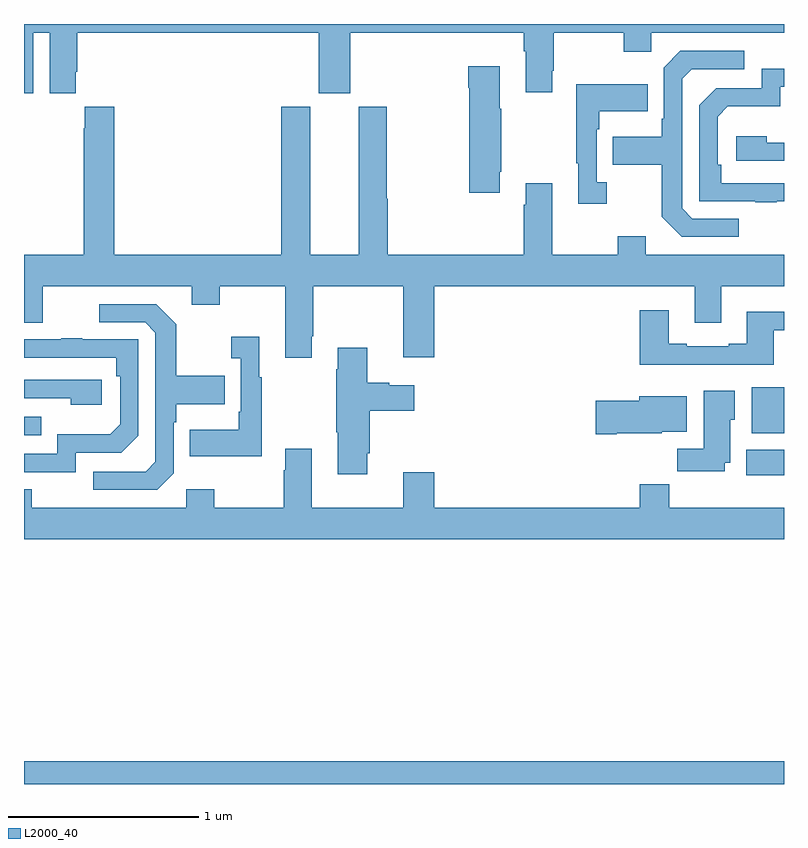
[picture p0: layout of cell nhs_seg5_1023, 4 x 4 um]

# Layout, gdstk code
import gdstk
lib = gdstk.Library(unit=1e-6, precision=1e-09)
def R(c, l, rs):  # rectangles x0, y0, x1, y1
    for r in rs: c.add(gdstk.rectangle(r[:2], r[2:], *l))
def P(c, l, *ps):  # polygons
    for p in ps: c.add(gdstk.Polygon(p, *l))
L2000_40 = (2000, 40)

nhs_seg5_1023 = lib.new_cell('nhs_seg5_1023')
R(nhs_seg5_1023, L2000_40, [(175,860.799,179,860.92), (178.802,862.424,179,862.558), (175,862.635,175.091,862.731), (178.829,862.646,179,862.888)])
P(nhs_seg5_1023, L2000_40, [(175.048,864.752),(175.136,864.752),(175.136,864.435),(175.273,864.435),(175.273,864.547),(175.28,864.547),(175.28,864.752),(176.552,864.752),(176.552,864.435),(176.716,864.435),(176.716,864.752),(177.629,864.752),(177.629,864.656),(177.641,864.656),(177.641,864.441),(177.781,864.441),(177.781,864.553),(177.789,864.553),(177.789,864.752),(178.156,864.752),(178.156,864.653),(178.302,864.653),(178.302,864.752),(179,864.752),(179,864.799),(175,864.799),(175,864.435),(175.048,864.435)],
  [(178.762,863.775),(178.518,863.775),(178.464,863.829),(178.464,864.51),(178.515,864.561),(178.792,864.561),(178.792,864.657),(178.455,864.657),(178.368,864.57),(178.368,864.301),(178.356,864.301),(178.356,864.205),(178.099,864.205),(178.099,864.058),(178.356,864.058),(178.356,863.785),(178.461,863.679),(178.762,863.679)],
  [(177.505,864.022),(177.513,864.022),(177.513,864.353),(177.505,864.353),(177.505,864.577),(177.338,864.577),(177.338,864.464),(177.343,864.464),(177.343,863.91),(177.505,863.91)],
  [(178.961,863.865),(179,863.865),(179,863.961),(178.67,863.961),(178.67,864.058),(178.65,864.058),(178.65,864.312),(178.703,864.365),(178.98,864.365),(178.98,864.468),(179,864.468),(179,864.564),(178.884,864.564),(178.884,864.462),(178.644,864.462),(178.554,864.372),(178.554,863.865),(178.849,863.865),(178.849,863.86),(178.961,863.86)],
  [(178.066,863.966),(178.014,863.966),(178.014,864.245),(178.027,864.245),(178.027,864.341),(178.283,864.341),(178.283,864.481),(177.906,864.481),(177.906,864.065),(177.917,864.065),(177.917,863.853),(178.066,863.853)],
  [(176.515,863.155),(176.523,863.155),(176.523,863.42),(176.996,863.42),(176.996,863.046),(177.16,863.046),(177.16,863.42),(178.529,863.42),(178.529,863.226),(178.669,863.226),(178.669,863.42),(179,863.42),(179,863.584),(178.273,863.584),(178.273,863.683),(178.126,863.683),(178.126,863.584),(177.781,863.584),(177.781,863.962),(177.641,863.962),(177.641,863.849),(177.629,863.849),(177.629,863.584),(176.915,863.584),(176.915,863.88),(176.91,863.88),(176.91,864.363),(176.762,864.363),(176.762,863.584),(176.506,863.584),(176.506,864.363),(176.354,864.363),(176.354,863.584),(175.475,863.584),(175.475,864.364),(175.319,864.364),(175.319,864.251),(175.315,864.251),(175.315,863.584),(175,863.584),(175,863.226),(175.099,863.226),(175.099,863.42),(175.883,863.42),(175.883,863.321),(176.031,863.321),(176.031,863.42),(176.375,863.42),(176.375,863.043),(176.515,863.043)],
  [(179,864.174),(178.91,864.174),(178.91,864.208),(178.749,864.208),(178.749,864.078),(179,864.078)],
  [(175.788,862.434),(175.788,862.703),(175.801,862.703),(175.801,862.799),(176.057,862.799),(176.057,862.947),(175.801,862.947),(175.801,863.219),(175.695,863.325),(175.395,863.325),(175.395,863.229),(175.638,863.229),(175.692,863.175),(175.692,862.494),(175.641,862.443),(175.365,862.443),(175.365,862.347),(175.701,862.347)],
  [(178.945,863.187),(179,863.187),(179,863.284),(178.805,863.284),(178.805,863.116),(178.709,863.116),(178.709,863.103),(178.489,863.103),(178.489,863.116),(178.393,863.116),(178.393,863.293),(178.241,863.293),(178.241,863.006),(178.945,863.006)],
  [(176.251,862.939),(176.239,862.939),(176.239,863.152),(176.091,863.152),(176.091,863.039),(176.142,863.039),(176.142,862.759),(176.13,862.759),(176.13,862.663),(175.873,862.663),(175.873,862.523),(176.251,862.523)],
  [(175.272,862.542),(175.512,862.542),(175.602,862.632),(175.602,863.139),(175.307,863.139),(175.307,863.144),(175.195,863.144),(175.195,863.139),(175,863.139),(175,863.043),(175.486,863.043),(175.486,862.946),(175.506,862.946),(175.506,862.692),(175.453,862.639),(175.176,862.639),(175.176,862.536),(175,862.536),(175,862.44),(175.272,862.44)],
  [(176.806,862.54),(176.819,862.54),(176.819,862.763),(177.055,862.763),(177.055,862.897),(176.922,862.897),(176.922,862.91),(176.806,862.91),(176.806,863.095),(176.651,863.095),(176.651,862.982),(176.644,862.982),(176.644,862.651),(176.651,862.651),(176.651,862.428),(176.806,862.428)],
  [(175.408,862.926),(175,862.926),(175,862.83),(175.247,862.83),(175.247,862.796),(175.408,862.796)],
  [(178.687,862.49),(178.717,862.49),(178.717,862.716),(178.741,862.716),(178.741,862.87),(178.577,862.87),(178.577,862.564),(178.438,862.564),(178.438,862.446),(178.687,862.446)],
  [(178.12,862.646),(178.356,862.646),(178.356,862.652),(178.489,862.652),(178.489,862.84),(178.238,862.84),(178.238,862.817),(178.008,862.817),(178.008,862.639),(178.12,862.639)],
  [(179,862.252),(178.397,862.252),(178.397,862.376),(178.241,862.376),(178.241,862.252),(177.16,862.252),(177.16,862.441),(176.996,862.441),(176.996,862.252),(176.515,862.252),(176.515,862.564),(176.375,862.564),(176.375,862.451),(176.368,862.451),(176.368,862.252),(176.001,862.252),(176.001,862.351),(175.854,862.351),(175.854,862.252),(175.041,862.252),(175.041,862.351),(175,862.351),(175,862.088),(179,862.088)])

lib.write_gds('nhs_seg5_1023.gds')
